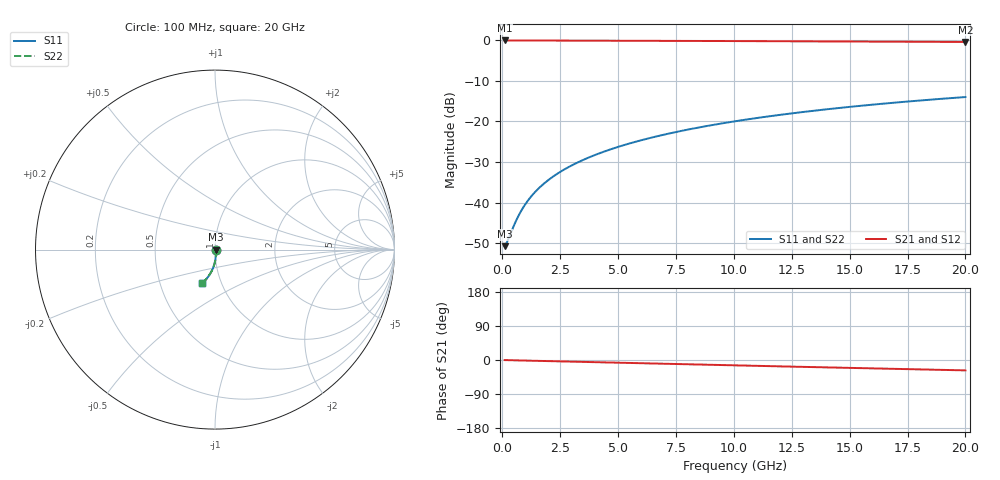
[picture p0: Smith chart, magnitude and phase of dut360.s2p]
! Touchstone file exported from HFSS 2026.1.0
!  File:  C:/ffzhzh/LocalFiles/Ansys_Project_Files/temp_train_BSMRDL_360_1783011613_4048.aedt
!  Generated:  01:01:24 AM Jul  3, 2026
!  Design:  BSMRDL
!  Project:  temp_train_BSMRDL_360_1783011613_4048
! Variables:
!  h_bsmrdl = 3.78um
!  h_ox = 20um
!  h_rdl = 5um
!  h_sub = 80um
!  h_tmrdl = 5um
!  h_tsv = 80um
!  h_via = 3um
!  l_bsmrdl = 427.87um
!  l_sub = 827.87um
!  l_tmrdl = 200um
!  m_sub = 200um
!  pitch = 16.16um
!  r_tsv = 6um
!  s_tmrdl = 10um
!  w_bsmrdl = 14.96um
!  w_sub = 500um
!  w_tmrdl = 12um
!  x_tsv_center1 = 206um
!  x_tsv_center2 = 648.83um
!  x_tsv_center3 = 860.83um
!  x_tsv_center4 = 1303.66um
!  x_tsv_center5 = 1515.66um
!  x_tsv_center6 = 1958.49um
# GHz S MA R 50.000000
! Terminal data exported
! Port[1] = BSM_RDL1_1_T1
! Port[2] = BSM_RDL1_1_T2
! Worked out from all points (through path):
!   200 points, 100 MHz to 20 GHz, reference 50 ohm
!   highest |S21| = -0.03 dB at 100 MHz (marker M1); lowest = -0.4 dB at 20 GHz (marker M2)
!   group delay of S21, straight-line fit = 3.79 ps
!   lowest |S11| = -50.7 dB at 100 MHz (marker M3), VSWR 1.01, Z = 50.3 - j0.0409 ohm
!   |S11| at or under -10 dB: start of sweep to end of sweep
!   |S22| runs from -50.7 to -14.0 dB; largest |S21 - S12| = 2e-15
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0.1  0.002902 -8.1  0.9971 -0.2  0.9971 -0.2  0.002902 -8.1
! Gamma 0 0 0 0
! Port Impedance 50 0 50 0
0.2  0.003247 -16.1  0.9969 -0.3  0.9969 -0.3  0.003247 -16.1
0.6  0.006017 -42.4  0.9955 -1.0  0.9955 -1.0  0.006017 -42.4
0.8  0.00777 -51.1  0.995 -1.3  0.995 -1.3  0.00777 -51.1
0.9  0.008678 -54.5  0.9948 -1.4  0.9948 -1.4  0.008679 -54.5
1.1  0.01053 -60.0  0.9944 -1.7  0.9944 -1.7  0.01053 -60.0
1.4  0.01335 -65.9  0.994 -2.1  0.994 -2.1  0.01335 -65.9
1.6  0.01525 -68.9  0.9938 -2.4  0.9938 -2.4  0.01525 -68.9
1.8  0.01716 -71.3  0.9936 -2.7  0.9936 -2.7  0.01716 -71.3
2.3  0.02196 -75.7  0.9931 -3.4  0.9931 -3.4  0.02196 -75.7
2.9  0.02778 -79.2  0.9924 -4.2  0.9924 -4.2  0.02778 -79.2
3.5  0.03365 -81.8  0.9917 -5.1  0.9917 -5.1  0.03365 -81.8
4.2  0.04058 -84.0  0.9907 -6.1  0.9907 -6.1  0.04058 -84.0
5  0.04858 -86.2  0.9895 -7.2  0.9895 -7.2  0.04859 -86.1
5.9  0.0577 -88.2  0.988 -8.5  0.988 -8.5  0.0577 -88.2
6.8  0.06691 -90.0  0.9864 -9.7  0.9864 -9.7  0.06691 -89.9
8.3  0.0824 -92.7  0.9834 -11.8  0.9834 -11.8  0.0824 -92.7
10.1  0.1011 -95.7  0.9797 -14.3  0.9797 -14.3  0.1011 -95.7
11.7  0.1176 -98.3  0.9762 -16.4  0.9762 -16.4  0.1177 -98.3
13.4  0.1351 -101.0  0.9722 -18.7  0.9722 -18.7  0.1351 -101.0
16.7  0.1683 -106.0  0.964 -23.1  0.964 -23.1  0.1683 -106.0
20  0.2001 -110.8  0.9551 -27.4  0.9551 -27.4  0.2001 -110.8
